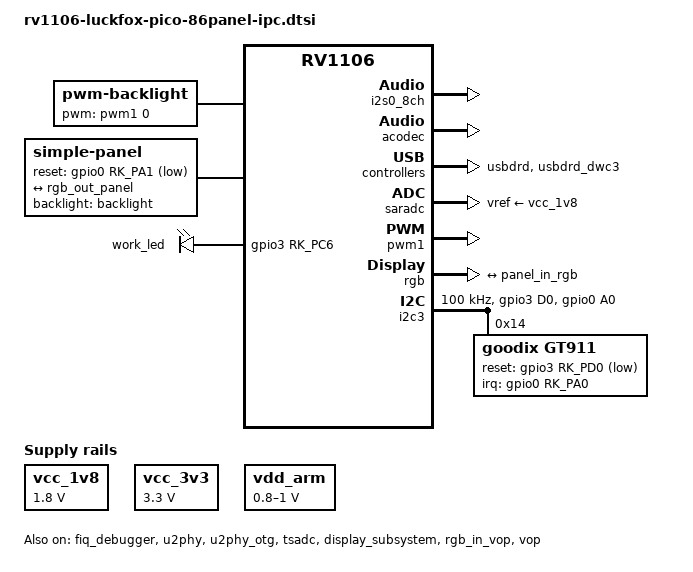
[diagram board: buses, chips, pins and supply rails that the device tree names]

// SPDX-License-Identifier: (GPL-2.0+ OR MIT)
/*
 * Copyright (c) 2022 Rockchip Electronics Co., Ltd.
 */

#include "rv1106-evb.dtsi"
#include <dt-bindings/input/input.h>
#include <dt-bindings/display/media-bus-format.h>

/ {
	chosen {
		bootargs = "earlycon=uart8250,mmio32,0xff4c0000 console=ttyFIQ0 root=/dev/mmcblk0p7 rootwait snd_soc_core.prealloc_buffer_size_kbytes=16 coherent_pool=0";
	};

	backlight: backlight {
		status = "okay";
		compatible = "pwm-backlight";
		pwms = <&pwm1 0 100000 50000>;
		brightness-levels = <
			  0   1   2   3   4   5   6   7
			  8   9  10  11  12  13  14  15
			 16  17  18  19  20  21  22  23
			 24  25  26  27  28  29  30  31
			 32  33  34  35  36  37  38  39
			 40  41  42  43  44  45  46  47
			 48  49  50  51  52  53  54  55
			 56  57  58  59  60  61  62  63
			 64  65  66  67  68  69  70  71
			 72  73  74  75  76  77  78  79
			 80  81  82  83  84  85  86  87
			 88  89  90  91  92  93  94  95
			 96  97  98  99 100 101 102 103
			104 105 106 107 108 109 110 111
			112 113 114 115 116 117 118 119
			120 121 122 123 124 125 126 127
			128 129 130 131 132 133 134 135
			136 137 138 139 140 141 142 143
			144 145 146 147 148 149 150 151
			152 153 154 155 156 157 158 159
			160 161 162 163 164 165 166 167
			168 169 170 171 172 173 174 175
			176 177 178 179 180 181 182 183
			184 185 186 187 188 189 190 191
			192 193 194 195 196 197 198 199
			200 201 202 203 204 205 206 207
			208 209 210 211 212 213 214 215
			216 217 218 219 220 221 222 223
			224 225 226 227 228 229 230 231
			232 233 234 235 236 237 238 239
			240 241 242 243 244 245 246 247
			248 249 250 251 252 253 254 255>;
		default-brightness-level = <255>;
	};

	panel: panel {
		compatible = "simple-panel";
		backlight = <&backlight>;

		reset-gpios = <&gpio0 RK_PA1 GPIO_ACTIVE_LOW>;
		reset-delay-ms = <200>;
		status = "okay";

		bus-format = <MEDIA_BUS_FMT_RGB666_1X18>;
		width-mm = <85>;
		height-mm = <85>;

		display-timings {
			native-mode = <&timing0>;

			timing0: timing0 {
				clock-frequency = <30000000>;
				hactive = <720>;
				vactive = <720>;
				hback-porch = <44>;
				hfront-porch = <46>;
				vback-porch = <18>;
				vfront-porch = <16>;
				hsync-len = <2>;
				vsync-len = <2>;
				hsync-active = <0>;
				vsync-active = <0>;
				de-active = <0>;
				pixelclk-active = <0>;
			};
		};

		port {
			panel_in_rgb: endpoint {
				remote-endpoint = <&rgb_out_panel>;
			};
		};
	};

	reserved_memory: reserved-memory {
		status = "okay";
		#address-cells = <1>;
		#size-cells = <1>;
		ranges;
		drm_logo: drm-logo@00000000 {
			compatible = "rockchip,drm-logo";
			reg = <0x0 0x0>;
		};
		linux,cma {
			status = "okay";
			compatible = "shared-dma-pool";
			inactive;
			reusable;
			size = <0xA00000>; //10M
			linux,cma-default;
		};
		mmc_ecsd: mmc@3f000 {
			reg = <0x3f000 0x00001000>;
		};
	};

	acodec_sound: acodec-sound {
		compatible = "simple-audio-card";
		simple-audio-card,name = "rv1106-acodec";
		simple-audio-card,format = "i2s";
		simple-audio-card,mclk-fs = <256>;
		simple-audio-card,cpu {
			sound-dai = <&i2s0_8ch>;
		};
		simple-audio-card,codec {
			sound-dai = <&acodec>;
		};
	};

	dsm_sound: dsm-sound {
		status = "disabled";
		compatible = "simple-audio-card";
		simple-audio-card,format = "i2s";
		simple-audio-card,mclk-fs = <256>;
		simple-audio-card,name = "rockchip,dsm-sound";
		simple-audio-card,bitclock-master = <&sndcodec>;
		simple-audio-card,frame-master = <&sndcodec>;
		sndcpu: simple-audio-card,cpu {
			sound-dai = <&i2s0_8ch>;
		};
		sndcodec: simple-audio-card,codec {
			sound-dai = <&dsm>;
		};
	};

	vcc_1v8: vcc-1v8 {
		compatible = "regulator-fixed";
		regulator-name = "vcc_1v8";
		regulator-always-on;
		regulator-boot-on;
		regulator-min-microvolt = <1800000>;
		regulator-max-microvolt = <1800000>;
	};

	vcc_3v3: vcc-3v3 {
		compatible = "regulator-fixed";
		regulator-name = "vcc_3v3";
		regulator-always-on;
		regulator-boot-on;
		regulator-min-microvolt = <3300000>;
		regulator-max-microvolt = <3300000>;
	};

	vdd_arm: vdd-arm {
		compatible = "regulator-fixed";
		regulator-name = "vdd_arm";
		regulator-min-microvolt = <800000>;
		regulator-max-microvolt = <1000000>;
		regulator-init-microvolt = <900000>;
		regulator-always-on;
		regulator-boot-on;
	};

	leds: leds {
		compatible = "gpio-leds";
		work_led: work{
			gpios = <&gpio3 RK_PC6 GPIO_ACTIVE_HIGH>;
			linux,default-trigger = "activity";
			default-state = "on";
		};
	};
};

/***************************** audio ********************************/
&i2s0_8ch {
	#sound-dai-cells = <0>;
	status = "okay";
};

&acodec {
	#sound-dai-cells = <0>;
	status = "okay";
};

/************************* FIQ_DUBUGGER ****************************/
&fiq_debugger {
	rockchip,irq-mode-enable = <1>;
	status = "okay";
};

/***************************** USB *********************************/
&u2phy {
	status = "okay";
};

&u2phy_otg {
	status = "okay";
};

&usbdrd {
	status = "okay";
};

&usbdrd_dwc3 {
	extcon = <&u2phy>;
	status = "okay";
};

/***************************** DSM *********************************/
&dsm {
	status = "disabled";
};

&cpu0 {
	cpu-supply = <&vdd_arm>;
};

/***************************** ADC ********************************/
&saradc {
	status = "okay";
	vref-supply = <&vcc_1v8>;
};

&tsadc {
	status = "okay";
};

/**************************** LCD/TP ******************************/
&pwm1 {
	status = "okay";
	pinctrl-names = "active";
	pinctrl-0 = <&pwm1m2_pins>;
};

&display_subsystem {
	status = "okay";
	logo-memory-region = <&drm_logo>;
};

&rgb {
	status = "okay";
	pinctrl-names = "default";
	pinctrl-0 = <&lcd_pins>;

	ports {
		rgb_out: port@1 {
			reg = <1>;
			#address-cells = <1>;
			#size-cells = <0>;

			rgb_out_panel: endpoint@0 {
				reg = <0>;
				remote-endpoint = <&panel_in_rgb>;
			};
		};
	};
};

&rgb_in_vop {
	status = "okay";
};

&route_rgb {
	status = "disabled";
};

&vop {
	status = "okay";
};

&i2c3 {
	status = "okay";
	pinctrl-0 = <&i2c3m2_xfer &tp_rst &tp_irq>;
	clock-frequency = <100000>;
	GT911:touchscreen {
		compatible = "goodix,gt911";
		reg = <0x14>;

		interrupt-parent = <&gpio0>;
		interrupts = <RK_PA0 IRQ_TYPE_EDGE_FALLING>;

		reset-gpios = <&gpio3 RK_PD0 GPIO_ACTIVE_LOW>;
		pinctrl-names = "default";
	};
};

/**************************** PINCTRL ******************************/
&pinctrl {
	touchscreen {
		tp_rst:tp-rst {
			rockchip,pins = <3 RK_PD0 RK_FUNC_GPIO &pcfg_pull_up>;
		};

		tp_irq:tp-irq {
			rockchip,pins = <0 RK_PA0 RK_FUNC_GPIO &pcfg_pull_none>;
		};
	};
};
